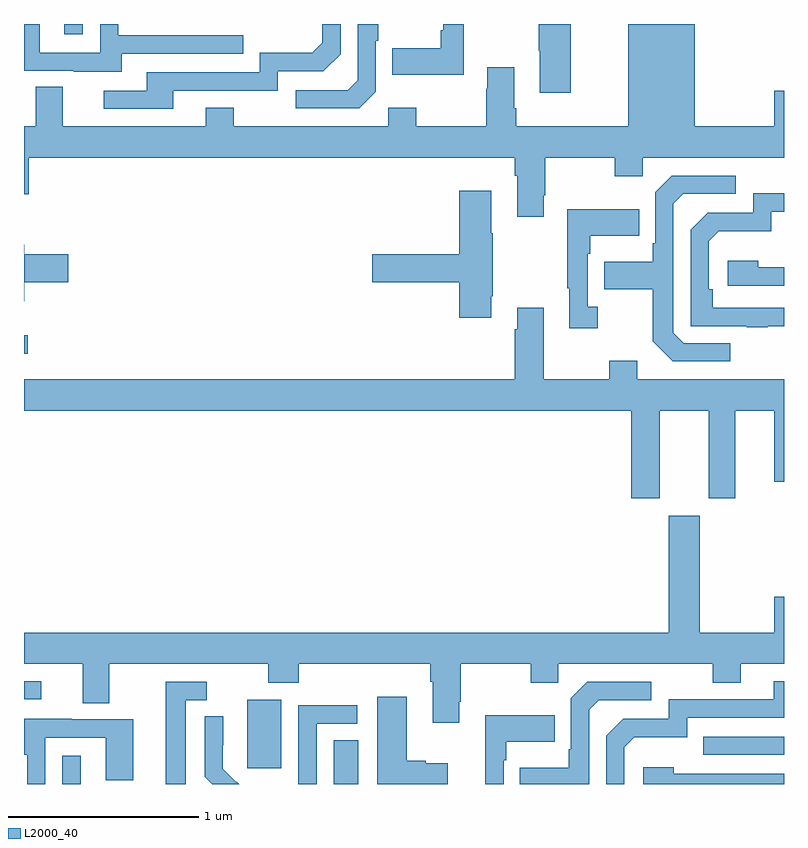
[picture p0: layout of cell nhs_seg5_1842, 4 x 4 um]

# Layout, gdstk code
import gdstk
lib = gdstk.Library(unit=1e-6, precision=1e-09)
def R(c, l, rs):  # rectangles x0, y0, x1, y1
    for r in rs: c.add(gdstk.rectangle(r[:2], r[2:], *l))
def P(c, l, *ps):  # polygons
    for p in ps: c.add(gdstk.Polygon(p, *l))
L2000_40 = (2000, 40)

nhs_seg5_1842 = lib.new_cell('nhs_seg5_1842')
R(nhs_seg5_1842, L2000_40, [(221.202,850.799,221.299,850.948), (222.629,850.799,222.76,851.03), (222.176,850.881,222.355,851.242), (224.575,850.953,225,851.049), (221,851.244,221.092,851.34), (221,853.064,221.02,853.161), (221.213,854.745,221.31,854.799)])
P(nhs_seg5_1842, L2000_40, [(223.315,854.799),(223.206,854.799),(223.206,854.767),(223.194,854.767),(223.194,854.671),(222.937,854.671),(222.937,854.531),(223.315,854.531)],
  [(221.515,854.643),(222.155,854.643),(222.155,854.739),(221.496,854.739),(221.496,854.799),(221.4,854.799),(221.4,854.649),(221.082,854.649),(221.082,854.799),(221,854.799),(221,854.553),(221.261,854.553),(221.261,854.549),(221.515,854.549)],
  [(221.785,854.448),(222.336,854.448),(222.336,854.55),(222.576,854.55),(222.666,854.64),(222.666,854.799),(222.57,854.799),(222.57,854.7),(222.517,854.647),(222.24,854.647),(222.24,854.544),(221.645,854.544),(221.645,854.448),(221.421,854.448),(221.421,854.352),(221.785,854.352)],
  [(223.878,854.799),(223.708,854.799),(223.708,854.659),(223.715,854.659),(223.715,854.436),(223.878,854.436)],
  [(222.852,854.442),(222.852,854.711),(222.865,854.711),(222.865,854.799),(222.756,854.799),(222.756,854.502),(222.705,854.451),(222.429,854.451),(222.429,854.355),(222.765,854.355)],
  [(223.735,853.897),(223.743,853.897),(223.743,854.096),(224.11,854.096),(224.11,853.997),(224.256,853.997),(224.256,854.096),(225,854.096),(225,854.449),(224.948,854.449),(224.948,854.26),(224.53,854.26),(224.53,854.799),(224.18,854.799),(224.18,854.26),(223.592,854.26),(223.592,854.356),(223.579,854.356),(223.579,854.572),(223.439,854.572),(223.439,854.459),(223.432,854.459),(223.432,854.26),(223.065,854.26),(223.065,854.359),(222.918,854.359),(222.918,854.26),(222.105,854.26),(222.105,854.359),(221.957,854.359),(221.957,854.26),(221.203,854.26),(221.203,854.468),(221.063,854.468),(221.063,854.26),(221,854.26),(221,853.902),(221.024,853.902),(221.024,854.096),(223.583,854.096),(223.583,854),(223.595,854),(223.595,853.785),(223.735,853.785)],
  [(224.716,853.119),(224.472,853.119),(224.418,853.173),(224.418,853.854),(224.469,853.905),(224.746,853.905),(224.746,854.001),(224.409,854.001),(224.322,853.914),(224.322,853.645),(224.31,853.645),(224.31,853.549),(224.053,853.549),(224.053,853.402),(224.31,853.402),(224.31,853.129),(224.415,853.023),(224.716,853.023)],
  [(223.459,853.366),(223.467,853.366),(223.467,853.697),(223.459,853.697),(223.459,853.921),(223.292,853.921),(223.292,853.586),(222.834,853.586),(222.834,853.439),(223.292,853.439),(223.292,853.254),(223.459,853.254)],
  [(224.915,853.209),(225,853.209),(225,853.305),(224.624,853.305),(224.624,853.402),(224.604,853.402),(224.604,853.656),(224.657,853.709),(224.934,853.709),(224.934,853.812),(225,853.812),(225,853.908),(224.838,853.908),(224.838,853.806),(224.598,853.806),(224.508,853.716),(224.508,853.209),(224.803,853.209),(224.803,853.204),(224.915,853.204)],
  [(224.02,853.31),(223.968,853.31),(223.968,853.589),(223.981,853.589),(223.981,853.685),(224.237,853.685),(224.237,853.825),(223.86,853.825),(223.86,853.409),(223.871,853.409),(223.871,853.197),(224.02,853.197)],
  [(221.002,853.439),(221.233,853.439),(221.233,853.586),(221.002,853.586),(221.002,853.636),(221,853.636),(221,853.34),(221.002,853.34)],
  [(225,853.518),(224.864,853.518),(224.864,853.552),(224.703,853.552),(224.703,853.422),(225,853.422)],
  [(224.347,852.764),(224.603,852.764),(224.603,852.303),(224.743,852.303),(224.743,852.764),(224.948,852.764),(224.948,852.39),(225,852.39),(225,852.928),(224.227,852.928),(224.227,853.027),(224.08,853.027),(224.08,852.928),(223.735,852.928),(223.735,853.306),(223.595,853.306),(223.595,853.193),(223.583,853.193),(223.583,852.928),(221,852.928),(221,852.764),(224.195,852.764),(224.195,852.303),(224.347,852.303)],
  [(223.291,851.233),(223.299,851.233),(223.299,851.432),(223.666,851.432),(223.666,851.333),(223.812,851.333),(223.812,851.432),(224.626,851.432),(224.626,851.333),(224.773,851.333),(224.773,851.432),(225,851.432),(225,851.785),(224.948,851.785),(224.948,851.596),(224.557,851.596),(224.557,852.211),(224.393,852.211),(224.393,851.596),(221,851.596),(221,851.432),(221.309,851.432),(221.309,851.224),(221.449,851.224),(221.449,851.432),(222.286,851.432),(222.286,851.333),(222.446,851.333),(222.446,851.432),(223.139,851.432),(223.139,851.336),(223.151,851.336),(223.151,851.121),(223.291,851.121)],
  [(224.16,850.992),(224.213,851.045),(224.49,851.045),(224.49,851.148),(225,851.148),(225,851.34),(224.945,851.34),(224.945,851.244),(224.394,851.244),(224.394,851.142),(224.154,851.142),(224.064,851.052),(224.064,850.799),(224.16,850.799)],
  [(223.974,851.19),(224.025,851.241),(224.302,851.241),(224.302,851.337),(223.965,851.337),(223.878,851.25),(223.878,850.981),(223.866,850.981),(223.866,850.885),(223.609,850.885),(223.609,850.799),(223.974,850.799)],
  [(221.851,851.241),(221.962,851.241),(221.962,851.337),(221.747,851.337),(221.747,850.799),(221.851,850.799)],
  [(223.231,850.909),(223.115,850.909),(223.115,850.922),(223.015,850.922),(223.015,851.257),(222.86,851.257),(222.86,850.799),(223.231,850.799)],
  [(222.54,851.115),(222.754,851.115),(222.754,851.214),(222.444,851.214),(222.444,850.799),(222.54,850.799)],
  [(223.524,850.925),(223.537,850.925),(223.537,851.021),(223.793,851.021),(223.793,851.161),(223.427,851.161),(223.427,850.799),(223.524,850.799)],
  [(222.12,850.812),(222.117,850.809),(222.047,850.88),(222.047,851.002),(222.048,851.002),(222.048,851.156),(221.952,851.156),(221.952,850.838),(221.991,850.799),(222.133,850.799)],
  [(221.112,851.043),(221.43,851.043),(221.43,850.819),(221.575,850.819),(221.575,851.139),(221.251,851.139),(221.251,851.143),(221,851.143),(221,850.953),(221.016,850.953),(221.016,850.799),(221.112,850.799)],
  [(225,850.854),(224.42,850.854),(224.42,850.888),(224.259,850.888),(224.259,850.799),(225,850.799)])

lib.write_gds('nhs_seg5_1842.gds')
